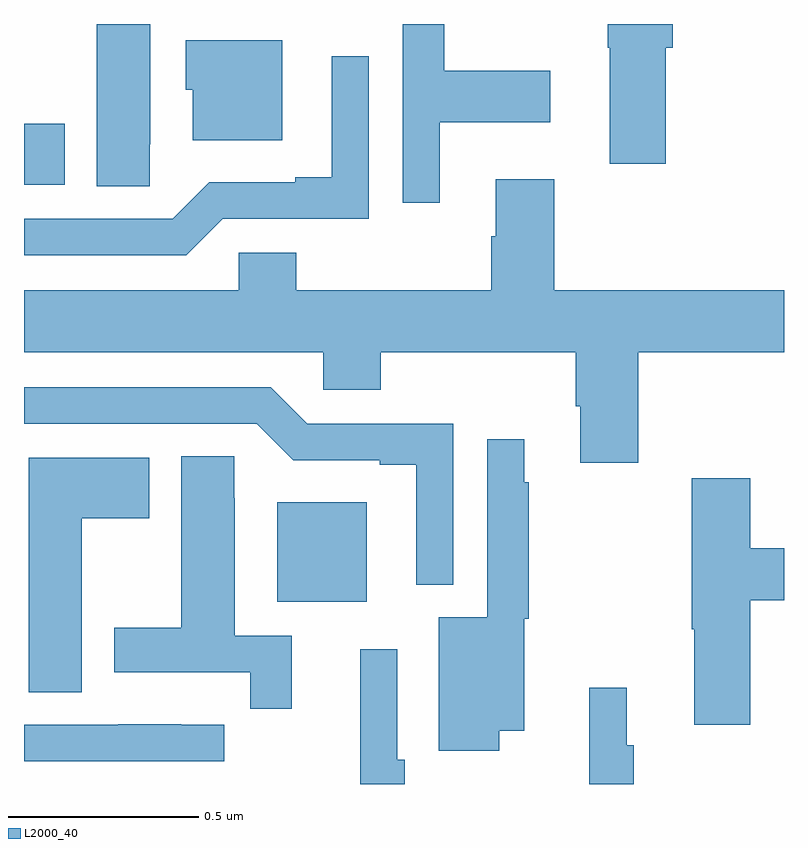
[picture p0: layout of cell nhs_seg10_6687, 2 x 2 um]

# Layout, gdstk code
import gdstk
lib = gdstk.Library(unit=1e-6, precision=1e-09)
def R(c, l, rs):  # rectangles x0, y0, x1, y1
    for r in rs: c.add(gdstk.rectangle(r[:2], r[2:], *l))
def P(c, l, *ps):  # polygons
    for p in ps: c.add(gdstk.Polygon(p, *l))
L2000_40 = (2000, 40)

nhs_seg10_6687 = lib.new_cell('nhs_seg10_6687')
R(nhs_seg10_6687, L2000_40, [(194.666,1312.979,194.902,1313.242), (194,1314.077,194.107,1314.237)])
P(nhs_seg10_6687, L2000_40, [(195.689,1314.438),(195.707,1314.438),(195.707,1314.5),(195.536,1314.5),(195.536,1314.438),(195.542,1314.438),(195.542,1314.132),(195.689,1314.132)],
  [(195.094,1314.242),(195.385,1314.242),(195.385,1314.377),(195.106,1314.377),(195.106,1314.5),(194.997,1314.5),(194.997,1314.03),(195.094,1314.03)],
  [(194.331,1314.184),(194.332,1314.184),(194.332,1314.5),(194.192,1314.5),(194.192,1314.073),(194.331,1314.073)],
  [(194.68,1314.457),(194.426,1314.457),(194.426,1314.327),(194.444,1314.327),(194.444,1314.194),(194.68,1314.194)],
  [(194.523,1313.988),(194.907,1313.988),(194.907,1314.415),(194.81,1314.415),(194.81,1314.097),(194.714,1314.097),(194.714,1314.084),(194.487,1314.084),(194.391,1313.988),(194,1313.988),(194,1313.892),(194.427,1313.892)],
  [(195.617,1313.636),(196,1313.636),(196,1313.8),(195.395,1313.8),(195.395,1314.091),(195.242,1314.091),(195.242,1313.942),(195.23,1313.942),(195.23,1313.8),(194.717,1313.8),(194.717,1313.898),(194.565,1313.898),(194.565,1313.8),(194,1313.8),(194,1313.636),(194.787,1313.636),(194.787,1313.538),(194.939,1313.538),(194.939,1313.636),(195.452,1313.636),(195.452,1313.494),(195.464,1313.494),(195.464,1313.346),(195.617,1313.346)],
  [(195.129,1313.448),(194.745,1313.448),(194.649,1313.544),(194,1313.544),(194,1313.448),(194.613,1313.448),(194.709,1313.352),(194.936,1313.352),(194.936,1313.34),(195.032,1313.34),(195.032,1313.024),(195.129,1313.024)],
  [(195.25,1312.64),(195.316,1312.64),(195.316,1312.935),(195.328,1312.935),(195.328,1313.294),(195.316,1313.294),(195.316,1313.407),(195.219,1313.407),(195.219,1312.939),(195.092,1312.939),(195.092,1312.587),(195.25,1312.587)],
  [(194.705,1312.89),(194.554,1312.89),(194.554,1313.252),(194.553,1313.252),(194.553,1313.363),(194.414,1313.363),(194.414,1312.911),(194.237,1312.911),(194.237,1312.794),(194.596,1312.794),(194.596,1312.698),(194.705,1312.698)],
  [(194.152,1313.2),(194.329,1313.2),(194.329,1313.359),(194.012,1313.359),(194.012,1312.849),(194.013,1312.849),(194.013,1312.741),(194.152,1312.741)],
  [(195.911,1312.984),(196,1312.984),(196,1313.12),(195.911,1313.12),(195.911,1313.305),(195.757,1313.305),(195.757,1312.907),(195.764,1312.907),(195.764,1312.656),(195.911,1312.656)],
  [(195.002,1312.564),(194.982,1312.564),(194.982,1312.855),(194.885,1312.855),(194.885,1312.5),(195.002,1312.5)],
  [(195.605,1312.602),(195.586,1312.602),(195.586,1312.753),(195.487,1312.753),(195.487,1312.5),(195.605,1312.5)],
  [(194.527,1312.656),(194.414,1312.656),(194.414,1312.657),(194.248,1312.657),(194.248,1312.656),(194,1312.656),(194,1312.56),(194.527,1312.56)])

lib.write_gds('nhs_seg10_6687.gds')
